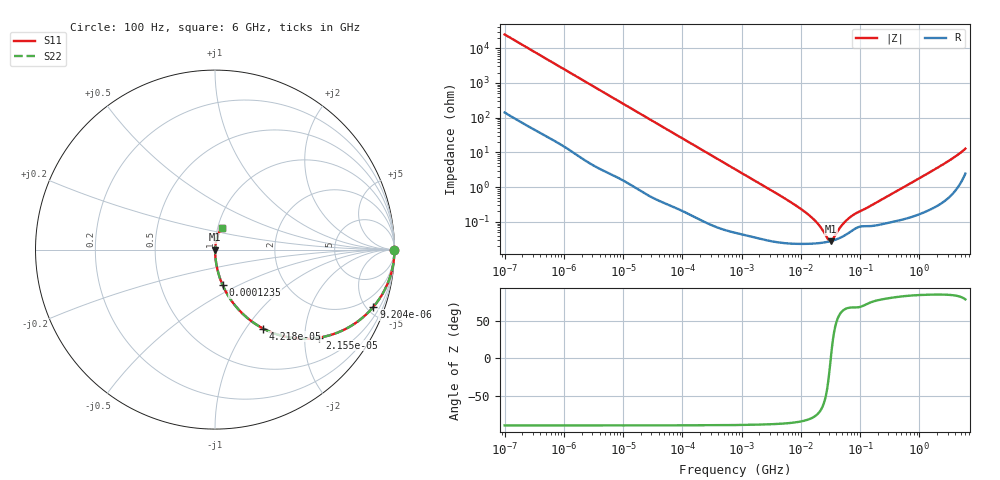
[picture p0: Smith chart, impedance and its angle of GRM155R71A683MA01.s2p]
!Murata Part Number: GRM155R71A683MA01
!These Parameters are Measured in Series Mode Connection
!Data Generated on Mar 30, 2021
!  o--ll--o
!Port1  Port2
!  o------o
!Operation Temp=25[degC], DC Bias Voltage=0[V]
!Freq. Start=100[Hz] Stop=6[GHz] 401[Steps]
# Hz S RI R 50
!Freq.(Hz) S11(Real) S11(Imag) S21(Real) S21(Imag) S12(Real) S12(Imag) S22(Real) S22(Imag)
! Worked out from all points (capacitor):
!   401 points, 100 Hz to 6 GHz, reference 50 ohm
!   read as one part in series: C = 63.7 nF near 109 Hz
!   lowest |Z| = 28 mohm at 31.85 MHz (marker M1)
!   series resonance near 32.04 MHz, so ESL is about 390 pH
!   S11 on the Smith chart (normalised r, x): 100 Hz: open; 9.204 kHz: 1.03, -5.51; 21.55 kHz: 1.01, -2.36; 42.18 kHz: 1.01, -1.21; 123.5 kHz: 1.00, -0.41; 6 GHz: 1.05, +0.25
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100  1 -0.00401  3.88e-05 0.00401  3.88e-05 0.00401  1 -0.00401
2008  0.9933 -0.079  0.00672 0.079  0.00672 0.079  0.9933 -0.079
4918  0.9626 -0.1869  0.0374 0.1869  0.0374 0.1869  0.9626 -0.1869
9204  0.8821 -0.3195  0.1179 0.3195  0.1179 0.3195  0.8821 -0.3195
21550  0.5818 -0.4903  0.4182 0.4903  0.4182 0.4903  0.5818 -0.4903
40335  0.2867 -0.449  0.7133 0.449  0.7133 0.449  0.2867 -0.449
42182  0.2689 -0.4402  0.7311 0.4402  0.7311 0.4402  0.2689 -0.4402
69028  0.1223 -0.3239  0.8777 0.3239  0.8777 0.3239  0.1223 -0.3239
123542  0.0428 -0.1982  0.9572 0.1982  0.9572 0.1982  0.0428 -0.1982
276587  0.00943 -0.092  0.9906 0.092  0.9906 0.092  0.00943 -0.092
774597  0.0016 -0.0333  0.9984 0.0333  0.9984 0.0333  0.0016 -0.0333
6353432  0.000255 -0.00395  0.9997 0.00395  0.9997 0.00395  0.000255 -0.00395
1.555665e7  0.000238 -0.00128  0.9998 0.00128  0.9998 0.00128  0.000238 -0.00128
2.128304e7  0.000248 -0.000684  0.9998 0.000684  0.9998 0.000684  0.000248 -0.000684
2.911731e7  0.00027 -0.000155  0.9997 0.000155  0.9997 0.000155  0.00027 -0.000155
3.184506e7  0.000279 -9.6e-06  0.9997 9.6e-06  0.9997 9.6e-06  0.000279 -9.6e-06
3.482834e7  0.000291 0.000135  0.9997 -0.000135  0.9997 -0.000135  0.000291 0.000135
4.983056e7  0.000372 0.000728  0.9996 -0.000728  0.9996 -0.000728  0.000372 0.000728
6.817316e7  0.000517 0.00127  0.9995 -0.00127  0.9995 -0.00127  0.000517 0.00127
3.124326e8  0.000987 0.00579  0.999 -0.00579  0.999 -0.00579  0.000987 0.00579
2.240541e9  0.00481 0.0397  0.9952 -0.0397  0.9952 -0.0397  0.00481 0.0397
6e9  0.0386 0.1182  0.9614 -0.1182  0.9614 -0.1182  0.0386 0.1182
